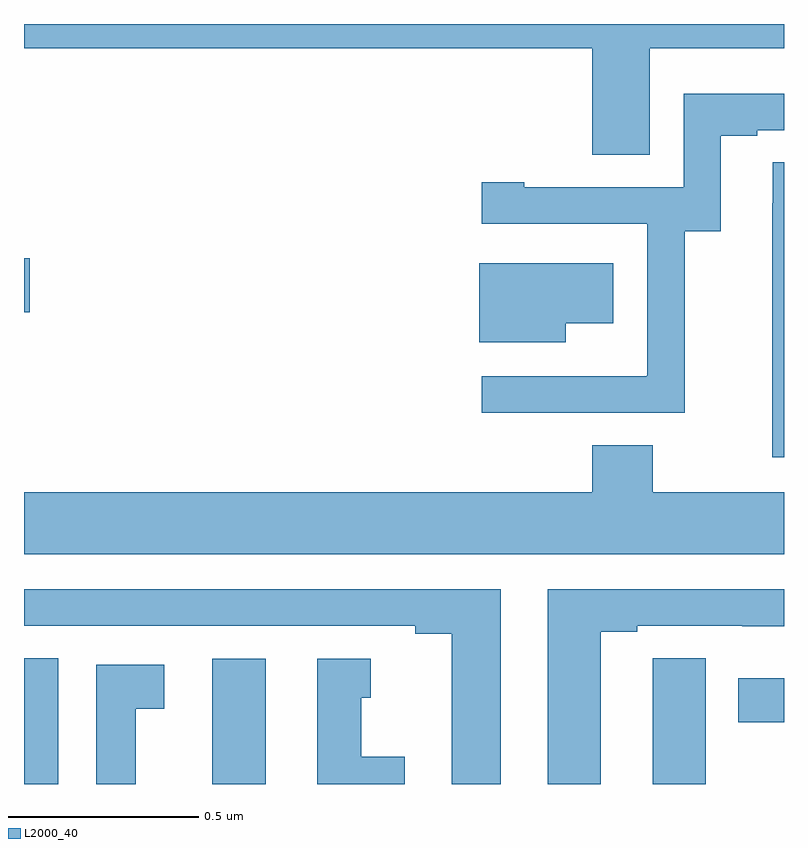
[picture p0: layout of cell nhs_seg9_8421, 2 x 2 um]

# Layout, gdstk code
import gdstk
lib = gdstk.Library(unit=1e-6, precision=1e-09)
def R(c, l, rs):  # rectangles x0, y0, x1, y1
    for r in rs: c.add(gdstk.rectangle(r[:2], r[2:], *l))
def P(c, l, *ps):  # polygons
    for p in ps: c.add(gdstk.Polygon(p, *l))
L2000_40 = (2000, 40)

nhs_seg9_8421 = lib.new_cell('nhs_seg9_8421')
R(nhs_seg9_8421, L2000_40, [(217,1178.5,217.09,1178.831), (217.496,1178.5,217.636,1178.83), (218.879,1178.662,219,1178.778), (217,1179.742,217.015,1179.884)])
P(nhs_seg9_8421, L2000_40, [(218.647,1180.436),(219,1180.436),(219,1180.5),(217,1180.5),(217,1180.436),(218.495,1180.436),(218.495,1180.156),(218.647,1180.156)],
  [(218.739,1179.955),(218.833,1179.955),(218.833,1180.206),(218.929,1180.206),(218.929,1180.221),(219,1180.221),(219,1180.317),(218.736,1180.317),(218.736,1180.071),(218.317,1180.071),(218.317,1180.084),(218.205,1180.084),(218.205,1179.975),(218.64,1179.975),(218.64,1179.574),(218.639,1179.574),(218.639,1179.573),(218.205,1179.573),(218.205,1179.477),(218.739,1179.477)],
  [(219,1180.136),(218.97,1180.136),(218.97,1180.028),(218.969,1180.028),(218.969,1179.36),(219,1179.36)],
  [(218.425,1179.713),(218.551,1179.713),(218.551,1179.871),(218.198,1179.871),(218.198,1179.662),(218.425,1179.662)],
  [(219,1179.268),(218.655,1179.268),(218.655,1179.392),(218.495,1179.392),(218.495,1179.268),(217,1179.268),(217,1179.104),(219,1179.104)],
  [(218.254,1179.012),(217,1179.012),(217,1178.916),(218.03,1178.916),(218.03,1178.896),(218.126,1178.896),(218.126,1178.5),(218.254,1178.5)],
  [(218.518,1178.901),(218.614,1178.901),(218.614,1178.916),(218.89,1178.916),(218.89,1178.915),(219,1178.915),(219,1179.012),(218.378,1179.012),(218.378,1178.5),(218.518,1178.5)],
  [(218.794,1178.831),(218.655,1178.831),(218.655,1178.723),(218.654,1178.723),(218.654,1178.5),(218.794,1178.5)],
  [(218.002,1178.572),(217.888,1178.572),(217.888,1178.727),(217.912,1178.727),(217.912,1178.83),(217.772,1178.83),(217.772,1178.5),(218.002,1178.5)],
  [(217.294,1178.698),(217.369,1178.698),(217.369,1178.814),(217.19,1178.814),(217.19,1178.5),(217.294,1178.5)])

lib.write_gds('nhs_seg9_8421.gds')
